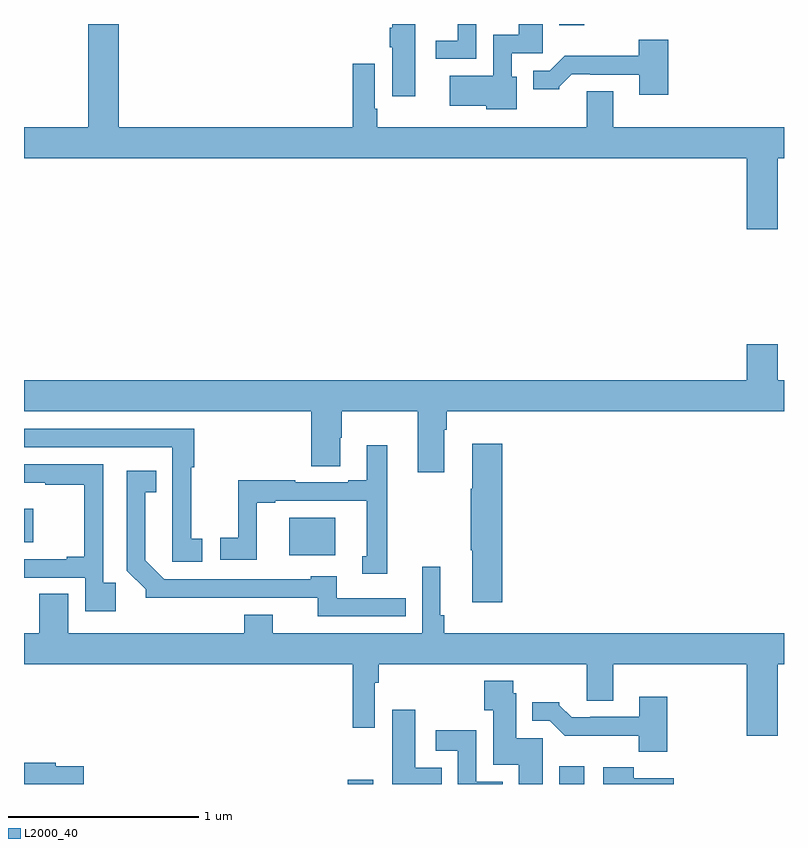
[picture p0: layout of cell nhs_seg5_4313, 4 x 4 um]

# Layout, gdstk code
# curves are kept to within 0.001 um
import gdstk
lib = gdstk.Library(unit=1e-6, precision=1e-09)
def R(c, l, rs):  # rectangles x0, y0, x1, y1
    for r in rs: c.add(gdstk.rectangle(r[:2], r[2:], *l))
def P(c, l, *ps):  # polygons
    for p in ps: c.add(gdstk.Polygon(p, *l))
L2000_40 = (2000, 40)

nhs_seg5_4313 = lib.new_cell('nhs_seg5_4313')
R(nhs_seg5_4313, L2000_40, [(366.704,854.799,366.838,854.821), (367.817,854.799,367.948,854.893), (366.395,856.004,366.637,856.201), (365,856.071,365.048,856.249), (367.817,858.792,367.948,858.799), (368.048,858.797,368.21,858.799)])
P(nhs_seg5_4313, L2000_40, [(368.968,858.092),(369,858.092),(369,858.256),(368.101,858.256),(368.101,858.446),(367.961,858.446),(367.961,858.256),(366.859,858.256),(366.859,858.352),(366.846,858.352),(366.846,858.589),(366.73,858.589),(366.73,858.256),(365.498,858.256),(365.498,858.799),(365.338,858.799),(365.338,858.256),(365,858.256),(365,858.092),(368.804,858.092),(368.804,857.718),(368.968,857.718)],
  [(367.38,858.799),(367.284,858.799),(367.284,858.711),(367.167,858.711),(367.167,858.615),(367.38,858.615)],
  [(367.06,858.799),(366.938,858.799),(366.938,858.779),(366.926,858.779),(366.926,858.676),(366.938,858.676),(366.938,858.42),(367.06,858.42)],
  [(367.594,858.522),(367.566,858.522),(367.566,858.645),(367.729,858.645),(367.729,858.799),(367.604,858.799),(367.604,858.742),(367.47,858.742),(367.47,858.526),(367.242,858.526),(367.242,858.368),(367.434,858.368),(367.434,858.35),(367.594,858.35)],
  [(368.39,858.715),(368.235,858.715),(368.235,858.631),(367.846,858.631),(367.767,858.552),(367.679,858.552),(367.679,858.455),(367.818,858.455),(367.818,858.47),(367.882,858.534),(367.981,858.534),(367.981,858.531),(368.237,858.531),(368.237,858.426),(368.39,858.426)],
  [(367.213,856.664),(367.226,856.664),(367.226,856.76),(369,856.76),(369,856.924),(368.968,856.924),(368.968,857.113),(368.804,857.113),(368.804,856.924),(365,856.924),(365,856.76),(366.512,856.76),(366.512,856.471),(366.664,856.471),(366.664,856.622),(366.672,856.622),(366.672,856.76),(367.073,856.76),(367.073,856.44),(367.213,856.44)],
  [(365.938,856.089),(365.88,856.089),(365.88,856.465),(365.897,856.465),(365.897,856.668),(365,856.668),(365,856.572),(365.781,856.572),(365.781,856.244),(365.78,856.244),(365.78,855.969),(365.938,855.969)],
  [(367.517,856.591),(367.358,856.591),(367.358,856.352),(367.351,856.352),(367.351,856.03),(367.358,856.03),(367.358,855.756),(367.517,855.756)],
  [(366.913,856.582),(366.803,856.582),(366.803,856.399),(366.707,856.399),(366.707,856.386),(366.428,856.386),(366.428,856.399),(366.127,856.399),(366.127,856.094),(366.033,856.094),(366.033,855.978),(366.226,855.978),(366.226,856.278),(366.322,856.278),(366.322,856.29),(366.803,856.29),(366.803,855.999),(366.779,855.999),(366.779,855.905),(366.913,855.905)],
  [(365.483,855.859),(365.418,855.859),(365.418,856.482),(365,856.482),(365,856.385),(365.111,856.385),(365.111,856.374),(365.317,856.374),(365.317,855.994),(365.225,855.994),(365.225,855.981),(365,855.981),(365,855.885),(365.322,855.885),(365.322,855.708),(365.483,855.708)],
  [(367.01,855.777),(366.646,855.777),(366.646,855.892),(366.51,855.892),(366.51,855.876),(365.739,855.876),(365.638,855.977),(365.638,856.334),(365.696,856.334),(365.696,856.447),(365.541,856.447),(365.541,855.922),(365.64,855.823),(365.64,855.779),(366.547,855.78),(366.547,855.681),(367.01,855.681)],
  [(367.192,855.688),(367.192,855.943),(367.095,855.943),(367.095,855.592),(366.31,855.592),(366.31,855.691),(366.158,855.691),(366.158,855.592),(365.233,855.592),(365.233,855.8),(365.081,855.8),(365.081,855.592),(365,855.592),(365,855.428),(366.73,855.428),(366.73,855.096),(366.846,855.096),(366.846,855.332),(366.866,855.332),(366.866,855.428),(367.961,855.428),(367.961,855.238),(368.101,855.238),(368.101,855.428),(368.804,855.428),(368.804,855.054),(368.968,855.054),(368.968,855.428),(369,855.428),(369,855.592),(367.211,855.592),(367.211,855.688)],
  [(367.729,855.039),(367.591,855.039),(367.591,855.276),(367.575,855.276),(367.575,855.343),(367.423,855.343),(367.423,855.187),(367.469,855.187),(367.469,854.9),(367.604,854.9),(367.604,854.799),(367.729,854.799)],
  [(368.385,855.259),(368.237,855.259),(368.237,855.153),(367.981,855.153),(367.981,855.15),(367.882,855.15),(367.818,855.214),(367.818,855.229),(367.676,855.229),(367.676,855.132),(367.767,855.132),(367.846,855.054),(368.235,855.054),(368.235,854.969),(368.385,854.969)],
  [(367.199,854.884),(367.06,854.884),(367.06,855.19),(366.938,855.19),(366.938,854.799),(367.199,854.799)],
  [(367.519,854.812),(367.38,854.812),(367.38,855.082),(367.167,855.082),(367.167,854.973),(367.284,854.973),(367.284,854.799),(367.519,854.799)],
  [(365.315,854.892),(365.168,854.892),(365.168,854.912),(365,854.912),(365,854.799),(365.315,854.799)],
  [(368.419,854.83),(368.21,854.83),(368.21,854.887),(368.048,854.887),(368.048,854.799),(368.419,854.799)])

lib.write_gds('nhs_seg5_4313.gds')
